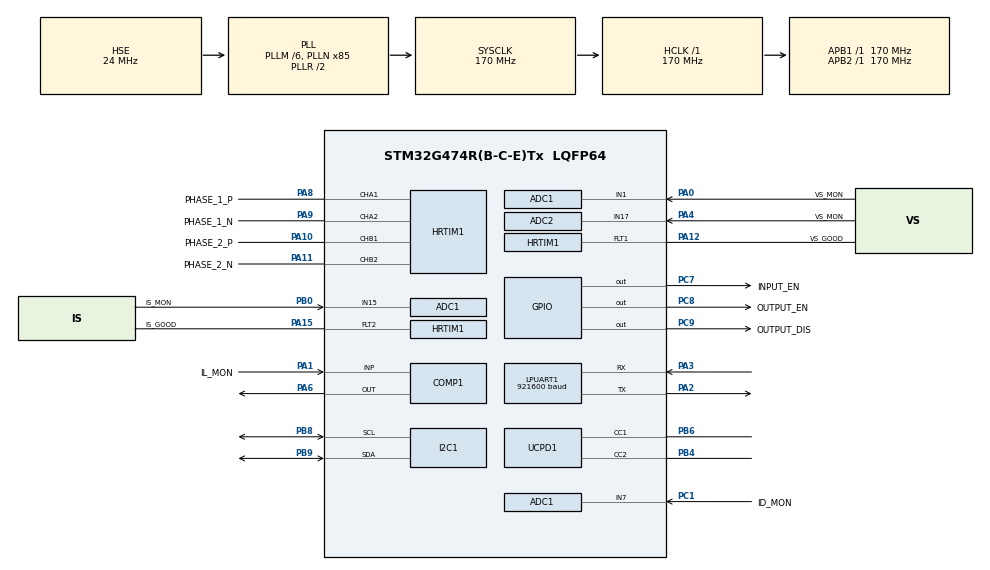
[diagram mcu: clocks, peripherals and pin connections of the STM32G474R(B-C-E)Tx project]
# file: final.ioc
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ADC1.Channel-2\#ChannelRegularConversion=ADC_CHANNEL_1
ADC1.Channel-3\#ChannelRegularConversion=ADC_CHANNEL_2
ADC1.Channel-4\#ChannelRegularConversion=ADC_CHANNEL_7
ADC1.Channel-5\#ChannelRegularConversion=ADC_CHANNEL_15
ADC1.ContinuousConvMode=ENABLE
ADC1.DMAContinuousRequests=ENABLE
ADC1.NbrOfConversion=4
ADC1.NbrOfConversionFlag=1
ADC1.OffsetNumber-2\#ChannelRegularConversion=ADC_OFFSET_NONE
ADC1.OffsetNumber-3\#ChannelRegularConversion=ADC_OFFSET_NONE
ADC1.OffsetNumber-4\#ChannelRegularConversion=ADC_OFFSET_NONE
ADC1.OffsetNumber-5\#ChannelRegularConversion=ADC_OFFSET_NONE
ADC1.Overrun=ADC_OVR_DATA_OVERWRITTEN
ADC1.Rank-2\#ChannelRegularConversion=1
ADC1.Rank-3\#ChannelRegularConversion=2
ADC1.Rank-4\#ChannelRegularConversion=3
ADC1.Rank-5\#ChannelRegularConversion=4
ADC1.SamplingTime-2\#ChannelRegularConversion=ADC_SAMPLETIME_2CYCLES_5
ADC1.SamplingTime-3\#ChannelRegularConversion=ADC_SAMPLETIME_2CYCLES_5
ADC1.SamplingTime-4\#ChannelRegularConversion=ADC_SAMPLETIME_2CYCLES_5
ADC1.SamplingTime-5\#ChannelRegularConversion=ADC_SAMPLETIME_2CYCLES_5
ADC1.master=1
ADC2.Channel-0\#ChannelRegularConversion=ADC_CHANNEL_17
ADC2.NbrOfConversionFlag=1
ADC2.OffsetNumber-0\#ChannelRegularConversion=ADC_OFFSET_NONE
ADC2.Rank-0\#ChannelRegularConversion=1
ADC2.SamplingTime-0\#ChannelRegularConversion=ADC_SAMPLETIME_2CYCLES_5
DAC3.DAC_Channel-DAC_OUT2_Int=DAC_CHANNEL_2
Dma.ADC1.3.Direction=DMA_PERIPH_TO_MEMORY
Dma.ADC1.3.EventEnable=DISABLE
Dma.ADC1.3.Instance=DMA1_Channel5
Dma.ADC1.3.MemDataAlignment=DMA_MDATAALIGN_HALFWORD
Dma.ADC1.3.MemInc=DMA_MINC_ENABLE
Dma.ADC1.3.Mode=DMA_CIRCULAR
Dma.ADC1.3.PeriphDataAlignment=DMA_PDATAALIGN_HALFWORD
Dma.ADC1.3.PeriphInc=DMA_PINC_DISABLE
Dma.ADC1.3.Polarity=HAL_DMAMUX_REQ_GEN_RISING
Dma.ADC1.3.Priority=DMA_PRIORITY_LOW
Dma.ADC1.3.RequestNumber=1
Dma.ADC1.3.SignalID=NONE
Dma.ADC1.3.SyncEnable=DISABLE
Dma.ADC1.3.SyncPolarity=HAL_DMAMUX_SYNC_NO_EVENT
Dma.ADC1.3.SyncRequestNumber=1
Dma.ADC1.3.SyncSignalID=NONE
Dma.ADC2.4.Direction=DMA_PERIPH_TO_MEMORY
Dma.ADC2.4.EventEnable=DISABLE
Dma.ADC2.4.Instance=DMA1_Channel6
Dma.ADC2.4.MemDataAlignment=DMA_MDATAALIGN_HALFWORD
Dma.ADC2.4.MemInc=DMA_MINC_ENABLE
Dma.ADC2.4.Mode=DMA_NORMAL
Dma.ADC2.4.PeriphDataAlignment=DMA_PDATAALIGN_HALFWORD
Dma.ADC2.4.PeriphInc=DMA_PINC_DISABLE
Dma.ADC2.4.Polarity=HAL_DMAMUX_REQ_GEN_RISING
Dma.ADC2.4.Priority=DMA_PRIORITY_LOW
Dma.ADC2.4.RequestNumber=1
Dma.ADC2.4.SignalID=NONE
Dma.ADC2.4.SyncEnable=DISABLE
Dma.ADC2.4.SyncPolarity=HAL_DMAMUX_SYNC_NO_EVENT
Dma.ADC2.4.SyncRequestNumber=1
Dma.ADC2.4.SyncSignalID=NONE
Dma.LPUART1_TX.2.Direction=DMA_MEMORY_TO_PERIPH
Dma.LPUART1_TX.2.EventEnable=DISABLE
Dma.LPUART1_TX.2.Instance=DMA1_Channel3
Dma.LPUART1_TX.2.MemDataAlignment=DMA_MDATAALIGN_BYTE
Dma.LPUART1_TX.2.MemInc=DMA_MINC_ENABLE
Dma.LPUART1_TX.2.Mode=DMA_NORMAL
Dma.LPUART1_TX.2.PeriphDataAlignment=DMA_PDATAALIGN_BYTE
Dma.LPUART1_TX.2.PeriphInc=DMA_PINC_DISABLE
Dma.LPUART1_TX.2.Polarity=HAL_DMAMUX_REQ_GEN_RISING
Dma.LPUART1_TX.2.Priority=DMA_PRIORITY_LOW
Dma.LPUART1_TX.2.RequestNumber=1
Dma.LPUART1_TX.2.SignalID=NONE
Dma.LPUART1_TX.2.SyncEnable=DISABLE
Dma.LPUART1_TX.2.SyncPolarity=HAL_DMAMUX_SYNC_NO_EVENT
Dma.LPUART1_TX.2.SyncRequestNumber=1
Dma.LPUART1_TX.2.SyncSignalID=NONE
Dma.Request0=UCPD1_TX
Dma.Request1=UCPD1_RX
Dma.Request2=LPUART1_TX
Dma.Request3=ADC1
Dma.Request4=ADC2
Dma.UCPD1_RX.1.Direction=DMA_PERIPH_TO_MEMORY
Dma.UCPD1_RX.1.EventEnable=DISABLE
Dma.UCPD1_RX.1.Instance=DMA1_Channel4
Dma.UCPD1_RX.1.MemDataAlignment=DMA_MDATAALIGN_BYTE
Dma.UCPD1_RX.1.MemInc=DMA_MINC_ENABLE
Dma.UCPD1_RX.1.Mode=DMA_NORMAL
Dma.UCPD1_RX.1.PeriphDataAlignment=DMA_PDATAALIGN_BYTE
Dma.UCPD1_RX.1.PeriphInc=DMA_PINC_DISABLE
Dma.UCPD1_RX.1.Polarity=HAL_DMAMUX_REQ_GEN_RISING
Dma.UCPD1_RX.1.Priority=DMA_PRIORITY_LOW
Dma.UCPD1_RX.1.RequestNumber=1
Dma.UCPD1_RX.1.SignalID=NONE
Dma.UCPD1_RX.1.SyncEnable=DISABLE
Dma.UCPD1_RX.1.SyncPolarity=HAL_DMAMUX_SYNC_NO_EVENT
Dma.UCPD1_RX.1.SyncRequestNumber=1
Dma.UCPD1_RX.1.SyncSignalID=NONE
Dma.UCPD1_TX.0.Direction=DMA_MEMORY_TO_PERIPH
Dma.UCPD1_TX.0.EventEnable=DISABLE
Dma.UCPD1_TX.0.Instance=DMA1_Channel2
Dma.UCPD1_TX.0.MemDataAlignment=DMA_MDATAALIGN_BYTE
Dma.UCPD1_TX.0.MemInc=DMA_MINC_ENABLE
Dma.UCPD1_TX.0.Mode=DMA_NORMAL
Dma.UCPD1_TX.0.PeriphDataAlignment=DMA_PDATAALIGN_BYTE
Dma.UCPD1_TX.0.PeriphInc=DMA_PINC_DISABLE
Dma.UCPD1_TX.0.Polarity=HAL_DMAMUX_REQ_GEN_RISING
Dma.UCPD1_TX.0.Priority=DMA_PRIORITY_LOW
Dma.UCPD1_TX.0.RequestNumber=1
Dma.UCPD1_TX.0.SignalID=NONE
Dma.UCPD1_TX.0.SyncEnable=DISABLE
Dma.UCPD1_TX.0.SyncPolarity=HAL_DMAMUX_SYNC_NO_EVENT
Dma.UCPD1_TX.0.SyncRequestNumber=1
Dma.UCPD1_TX.0.SyncSignalID=NONE
FREERTOS.Tasks01=defaultTask,0,512,StartDefaultTask,Default,NULL,Dynamic,NULL,NULL
FREERTOS.configLIBRARY_MAX_SYSCALL_INTERRUPT_PRIORITY=5
FREERTOS.configTOTAL_HEAP_SIZE=7000
FREERTOS.configUSE_NEWLIB_REENTRANT=1
GUI_INTERFACE.HWBoardVersionName=PD_Charger
GUI_INTERFACE.PDTypeName=BUCKBOOST_SRC
HRTIM1.ADCTrigger1_Source1=HRTIM_ADCTRIGGEREVENT13_MASTER_PERIOD
HRTIM1.ADCTrigger_Id1=HRTIM_ADCTRIGGER_1
HRTIM1.CompareUnit1-Output_TA1TA2=HRTIM_COMPAREUNIT_1
HRTIM1.CompareUnit1-Output_TB1TB2=HRTIM_COMPAREUNIT_1
HRTIM1.CompareUnit2-Output_TA1TA2=HRTIM_COMPAREUNIT_2
HRTIM1.CompareUnit2-Output_TB1TB2=HRTIM_COMPAREUNIT_2
HRTIM1.DeadTimeInsertion-Output_TA1TA2=HRTIM_TIMDEADTIMEINSERTION_ENABLED
HRTIM1.DeadTimeInsertion-Output_TB1TB2=HRTIM_TIMDEADTIMEINSERTION_ENABLED
HRTIM1.Event4-Output_TA1TA2=HRTIM_EVENT_4
HRTIM1.Event4-Output_TB1TB2=HRTIM_EVENT_4
HRTIM1.Event_EEV2=__NULL
HRTIM1.Event_EEV3=__NULL
HRTIM1.Event_EEV4=HRTIM_EVENT_4
HRTIM1.FallingValue-Output_TA1TA2=0x010
HRTIM1.FallingValue-Output_TB1TB2=0x010
HRTIM1.Filter4-Output_TA1TA2=HRTIM_TIMEEVFLT_BLANKINGCMP1
HRTIM1.Filter4-Output_TB1TB2=HRTIM_TIMEEVFLT_BLANKINGCMP1
HRTIM1.IdleLevel1-Output_TB1TB2=HRTIM_OUTPUTIDLELEVEL_INACTIVE
HRTIM1.IdleLevel2-Output_TB1TB2=HRTIM_OUTPUTIDLELEVEL_INACTIVE
HRTIM1.NumberADCTriggerSource1=1
HRTIM1.NumberResetSource1-Output_TA1TA2=2
HRTIM1.NumberResetSource1-Output_TB1TB2=1
HRTIM1.NumberSetSource1-Output_TA1TA2=1
HRTIM1.NumberSetSource1-Output_TB1TB2=2
HRTIM1.Polarity_FaultLine1=HRTIM_FAULTPOLARITY_LOW
HRTIM1.Polarity_FaultLine2=HRTIM_FAULTPOLARITY_LOW
HRTIM1.PrescalerRatio_MASTER=HRTIM_PRESCALERRATIO_MUL32
HRTIM1.PushPull-Output_TA1TA2=HRTIM_TIMPUSHPULLMODE_DISABLED
HRTIM1.ResetOutput1_Source1-Output_TA1TA2=HRTIM_OUTPUTSET_EEV_4
HRTIM1.ResetOutput1_Source1-Output_TB1TB2=HRTIM_OUTPUTRESET_TIMPER
HRTIM1.ResetOutput1_Source2-Output_TA1TA2=HRTIM_OUTPUTRESET_TIMCMP2
HRTIM1.RisingValue-Output_TA1TA2=0x010
HRTIM1.RisingValue-Output_TB1TB2=0x010
HRTIM1.SetOutput1_Source1-Output_TA1TA2=HRTIM_OUTPUTSET_TIMPER
HRTIM1.SetOutput1_Source1-Output_TB1TB2=HRTIM_OUTPUTSET_EEV_4
HRTIM1.SetOutput1_Source2-Output_TB1TB2=HRTIM_OUTPUTSET_TIMCMP2
HRTIM1.postscaler1=0x0F
I2C1.Timing=0x40B285C2
LPUART1.BaudRate=921600
LPUART1.WordLength=UART_WORDLENGTH_7B
Mcu.Family=STM32G4
Mcu.Name=STM32G474R(B-C-E)Tx
Mcu.Package=LQFP64
NVIC.DMA1_Channel2_IRQn=true\:5\:0\:false\:false\:true\:true\:false\:true\:true
NVIC.DMA1_Channel3_IRQn=true\:5\:0\:false\:false\:true\:false\:false\:true\:true
NVIC.DMA1_Channel4_IRQn=true\:5\:0\:true\:false\:true\:true\:false\:true\:true
NVIC.DMA1_Channel5_IRQn=true\:5\:0\:false\:false\:true\:false\:false\:true\:true
NVIC.DMA1_Channel6_IRQn=true\:5\:0\:false\:false\:true\:false\:false\:true\:true
NVIC.LPUART1_IRQn=true\:5\:0\:false\:false\:true\:true\:true\:true\:true
NVIC.PriorityGroup=NVIC_PRIORITYGROUP_4
NVIC.TIM2_IRQn=true\:15\:0\:false\:false\:true\:false\:false\:true\:true
NVIC.TimeBase=TIM2_IRQn
NVIC.TimeBaseIP=TIM2
NVIC.UCPD1_IRQn=true\:5\:0\:false\:false\:true\:true\:true\:false\:true
PA0.GPIO_Label=VS_MON
PA0.Mode=IN1-Single-Ended
PA0.Signal=ADC1_IN1
PA1.GPIO_Label=IL_MON
PA1.Signal=SharedAnalog_PA1
PA10.GPIO_Label=PHASE_2_P
PA10.Mode=Output_TB1TB2
PA10.Signal=HRTIM1_CHB1
PA11.GPIO_Label=PHASE_2_N
PA11.Mode=Output_TB1TB2
PA11.Signal=HRTIM1_CHB2
PA12.GPIO_Label=VS_GOOD
PA12.GPIO_PuPd=GPIO_PULLUP
PA12.Mode=Fault_Enable1
PA12.Signal=HRTIM1_FLT1
PA13.GPIO_Label=T_SWDIO
PA13.Mode=Serial_Wire
PA13.Signal=SYS_JTMS-SWDIO
PA14.GPIO_Label=T_SWCLK
PA14.Mode=Serial_Wire
PA14.Signal=SYS_JTCK-SWCLK
PA15.GPIO_Label=IS_GOOD
PA15.GPIO_PuPd=GPIO_PULLUP
PA15.Mode=Fault_Enable2
PA15.Signal=HRTIM1_FLT2
PA2.Mode=Asynchronous
PA2.Signal=LPUART1_TX
PA3.Mode=Asynchronous
PA3.Signal=LPUART1_RX
PA4.GPIO_Label=VS_MON
PA4.Mode=IN17-Single-Ended
PA4.Signal=ADC2_IN17
PA6.Mode=ExternalOutput
PA6.Signal=COMP1_OUT
PA8.GPIO_Label=PHASE_1_P
PA8.Mode=Output_TA1TA2
PA8.Signal=HRTIM1_CHA1
PA9.GPIO_Label=PHASE_1_N
PA9.Mode=Output_TA1TA2
PA9.Signal=HRTIM1_CHA2
PB0.GPIO_Label=IS_MON
PB0.Mode=IN15-Single-Ended
PB0.Signal=ADC1_IN15
PB3.GPIO_Label=T_SWO
PB3.Signal=SYS_JTDO-SWO
PB4.Mode=Source_AllSignals
PB4.Signal=UCPD1_CC2
PB6.Mode=Source_AllSignals
PB6.Signal=UCPD1_CC1
PB8-BOOT0.Mode=I2C
PB8-BOOT0.Signal=I2C1_SCL
PB9.Mode=I2C
PB9.Signal=I2C1_SDA
PC1.GPIO_Label=ID_MON
PC1.Mode=IN7-Single-Ended
PC1.Signal=ADC1_IN7
PC14-OSC32_IN.GPIO_Label=RCC_OSC32_IN
PC14-OSC32_IN.Mode=LSE-External-Oscillator
PC14-OSC32_IN.Signal=RCC_OSC32_IN
PC15-OSC32_OUT.GPIO_Label=RCC_OSC32_OUT
PC15-OSC32_OUT.Mode=LSE-External-Oscillator
PC15-OSC32_OUT.Signal=RCC_OSC32_OUT
PC7.GPIO_Label=INPUT_EN
PC7.Signal=GPIO_Output
PC8.GPIO_Label=OUTPUT_EN
PC8.Signal=GPIO_Output
PC9.GPIO_Label=OUTPUT_DIS
PC9.Signal=GPIO_Output
PF0-OSC_IN.GPIO_Label=RCC_OSC_IN
PF0-OSC_IN.Mode=HSE-External-Oscillator
PF0-OSC_IN.Signal=RCC_OSC_IN
PF1-OSC_OUT.GPIO_Label=RCC_OSC_OUT
PF1-OSC_OUT.Mode=HSE-External-Oscillator
PF1-OSC_OUT.Signal=RCC_OSC_OUT
ProjectManager.HeapSize=0xC00
ProjectManager.StackSize=0x400
ProjectManager.TargetToolchain=CMake
RCC.ADC12Freq_Value=170000000
RCC.ADC345Freq_Value=170000000
RCC.AHBFreq_Value=170000000
RCC.APB1Freq_Value=170000000
RCC.APB1TimFreq_Value=170000000
RCC.APB2Freq_Value=170000000
RCC.APB2TimFreq_Value=170000000
RCC.CortexFreq_Value=170000000
RCC.EXTERNAL_CLOCK_VALUE=12288000
RCC.HCLKFreq_Value=170000000
RCC.HSE_VALUE=24000000
RCC.HSI48_VALUE=48000000
RCC.HSI_VALUE=16000000
RCC.PLLM=RCC_PLLM_DIV6
RCC.PLLN=85
RCC.PLLSourceVirtual=RCC_PLLSOURCE_HSE
RCC.RTCClockSelection=RCC_RTCCLKSOURCE_LSE
RCC.SYSCLKFreq_VALUE=170000000
RCC.SYSCLKSource=RCC_SYSCLKSOURCE_PLLCLK
RCC.USBFreq_Value=170000000
RCC.VCOOutputFreq_Value=340000000
SH.SharedAnalog_PA1.0=COMP1_INP,INP
SH.SharedAnalog_PA1.1=ADC1_IN2,IN2-Single-Ended
STMicroelectronics.X-CUBE-TCPP.4.2.0.USBPDOoApplicationCcDeviceJjApplication=Source
STMicroelectronics.X-CUBE-TCPP.4.2.0.XAaNUCLEOAaSRC1M1CcBoardOoSupportJjXAaNUCLEOAaSRC1M1JjCommon=true
STMicroelectronics.X-CUBE-TCPP.4.2.0.tcpp0203CcBoardOoPartJjtcpp0203Jjtcpp0203=true
USBPD.Is_SrcCapaExt_Supported_P0=USBPD_TRUE
USBPD.USBPD_PDO_FIXED_HIGHERCAPAB_P0=USBPD_PDO_SNK_FIXED_HIGHERCAPAB_SUPPORTED
USBPD.USBPD_PORT0_PDO_SRC_FIXED_SET_MAX_CURRENT_0=100
USBPD.USBPD_PORT0_PDO_SRC_FIXED_SET_MAX_CURRENT_1=1500
USBPD.USBPD_PORT0_PDO_SRC_NB=2
VP_COMP1_VS_DAC3OUT1.Mode=INM_DAC3OUT1
VP_DAC3_VS_DACI1.Mode=DAC_OUT1_Int
VP_DAC3_VS_DACI2.Mode=DAC_OUT2_Int
VP_FREERTOS_VS_CMSIS_V1.Mode=CMSIS_V1
VP_GUI_INTERFACE_VS_gui_interface.Mode=GUI_INTERFACE
VP_HRTIM1_VS_hrtimMasterTimerNoOutput.Mode=MasterTimer
VP_STMicroelectronics.X-CUBE-TCPP_VS_BoardOoPartJjtcpp0203_1.2.3_4.2.0.Mode=BoardOoPartJjtcpp0203
VP_STMicroelectronics.X-CUBE-TCPP_VS_BoardOoSupportJjXAaNUCLEOAaSRC1M1_1.2.1_4.2.0.Mode=BoardOoSupportJjXAaNUCLEOAaSRC1M1
VP_STMicroelectronics.X-CUBE-TCPP_VS_DeviceJjUSBPDOoApplication_4.2.0_4.2.0.Mode=DeviceJjUSBPDOoApplication
VP_SYS_VS_DBSignals.Mode=DisableDeadBatterySignals
VP_SYS_VS_tim2.Mode=TIM2
VP_TIM6_VS_ClockSourceINT.Mode=Enable_Timer
VP_TIM7_VS_ClockSourceINT.Mode=Enable_Timer
VP_TRACER_EMB_VS_traceremb_lpuart1.Mode=TRACER_EMB_LPUART1
VP_USBPD_VS_PD3FULL.Mode=PD3_Full_Stack
VP_USBPD_VS_USBPD1.Mode=USBPD_P0
VP_USBPD_VS_usbpd_tim1.Mode=TIM1
VP_USBPD_VS_usbpd_traceremb.Mode=TRACER_EMB
board=NUCLEO-G474RE

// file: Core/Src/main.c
/* USER CODE BEGIN Header */
/**
  ******************************************************************************
  * @file           : main.c
  * @brief          : Main program body
  ******************************************************************************
  * @attention
  *
  * Copyright (c) 2026 STMicroelectronics.
  * All rights reserved.
  *
  * This software is licensed under terms that can be found in the LICENSE file
  * in the root directory of this software component.
  * If no LICENSE file comes with this software, it is provided AS-IS.
  *
  ******************************************************************************
  */
/* USER CODE END Header */
#include "main.h"
#include "cmsis_os.h"
#include "app_tcpp.h"
#include "usbpd.h"

/* USER CODE BEGIN Includes */
#include "regulator.h"
#include "pd_interface.h"
#include "pd_vbus.h"
#include "usbpd_dpm_core.h"
#include "adc_monitor.h"
#include "debug_log.h"
/* USER CODE END Includes */

/* USER CODE BEGIN PD */

/** Default task test voltage (millivolts).
 *  The default task bypasses PD negotiation and regulates to this voltage
 *  directly, enabling standalone regulation testing. */
#define DEFAULT_TASK_TEST_VOLTAGE_MV  28000u  /* 2026-09-28 boost: 24 V in; output switch on from the evening run (330 ohm load, OUTPUT_SWITCH_ENABLED 1). Buck runs 1 to 29 used 5000u. */

/* USER CODE END PD */

ADC_HandleTypeDef hadc1;
ADC_HandleTypeDef hadc2;
DMA_HandleTypeDef hdma_adc1;
DMA_HandleTypeDef hdma_adc2;

COMP_HandleTypeDef hcomp1;

DAC_HandleTypeDef hdac3;

HRTIM_HandleTypeDef hhrtim1;

I2C_HandleTypeDef hi2c1;

UART_HandleTypeDef hlpuart1;
DMA_HandleTypeDef hdma_lpuart1_tx;

TIM_HandleTypeDef htim6;
TIM_HandleTypeDef htim7;

osThreadId defaultTaskHandle;

void SystemClock_Config(void);
static void MX_GPIO_Init(void);
static void MX_DMA_Init(void);
static void MX_HRTIM1_Init(void);
static void MX_UCPD1_Init(void);
static void MX_LPUART1_UART_Init(void);
static void MX_COMP1_Init(void);
static void MX_DAC3_Init(void);
static void MX_ADC2_Init(void);
static void MX_ADC1_Init(void);
static void MX_I2C1_Init(void);
static void MX_TIM6_Init(void);
static void MX_TIM7_Init(void);
void StartDefaultTask(void const * argument);

int main(void)
{

  /* MCU Configuration--------------------------------------------------------*/

  /* Reset of all peripherals, Initializes the Flash interface and the Systick. */
  HAL_Init();

  /* Configure the system clock */
  SystemClock_Config();

  /* Initialize all configured peripherals */
  MX_GPIO_Init();
  MX_DMA_Init();
  MX_HRTIM1_Init();
  MX_UCPD1_Init();
  MX_LPUART1_UART_Init();
  MX_COMP1_Init();
  MX_DAC3_Init();
  MX_ADC2_Init();
  MX_ADC1_Init();
  MX_I2C1_Init();
  MX_TIM6_Init();
  MX_TIM7_Init();
  MX_TCPP_Init();
  /* USER CODE BEGIN 2 */
  /* Initialise the buck-boost regulator after all peripheral MX inits.
   * regulator_init() performs HRTIM post-configuration, PID init, ADC
   * calibration, slope compensation setup, and transitions to IDLE state.
   * Must run before osKernelStart() so interrupts are armed before RTOS. */
  regulator_init();

  /* Clear the debug capture buffer so the first samples collected after
   * osKernelStart() are clean (no zero-filled ghost entries). */
  debug_log_clear();
  /* USER CODE END 2 */

  /* USBPD initialisation ---------------------------------*/
  MX_USBPD_Init();

  /* Create the thread(s) */
  /* definition and creation of defaultTask */
  osThreadDef(defaultTask, StartDefaultTask, osPriorityNormal, 0, 512);
  defaultTaskHandle = osThreadCreate(osThread(defaultTask), NULL);

  /* Start scheduler */
  osKernelStart();

  /* We should never get here as control is now taken by the scheduler */

  /* Infinite loop */
  while (1)
  {

  }
}

void SystemClock_Config(void)
{
  RCC_OscInitTypeDef RCC_OscInitStruct = {0};
  RCC_ClkInitTypeDef RCC_ClkInitStruct = {0};

  /** Configure the main internal regulator output voltage
  */
  HAL_PWREx_ControlVoltageScaling(PWR_REGULATOR_VOLTAGE_SCALE1_BOOST);

  /** Initializes the RCC Oscillators according to the specified parameters
  * in the RCC_OscInitTypeDef structure.
  */
  RCC_OscInitStruct.OscillatorType = RCC_OSCILLATORTYPE_HSI|RCC_OSCILLATORTYPE_HSE;
  RCC_OscInitStruct.HSEState = RCC_HSE_ON;
  RCC_OscInitStruct.HSIState = RCC_HSI_ON;
  RCC_OscInitStruct.HSICalibrationValue = RCC_HSICALIBRATION_DEFAULT;
  RCC_OscInitStruct.PLL.PLLState = RCC_PLL_ON;
  RCC_OscInitStruct.PLL.PLLSource = RCC_PLLSOURCE_HSE;
  RCC_OscInitStruct.PLL.PLLM = RCC_PLLM_DIV6;
  RCC_OscInitStruct.PLL.PLLN = 85;
  RCC_OscInitStruct.PLL.PLLP = RCC_PLLP_DIV2;
  RCC_OscInitStruct.PLL.PLLQ = RCC_PLLQ_DIV2;
  RCC_OscInitStruct.PLL.PLLR = RCC_PLLR_DIV2;
  if (HAL_RCC_OscConfig(&RCC_OscInitStruct) != HAL_OK)
  {
    Error_Handler();
  }

  /** Initializes the CPU, AHB and APB buses clocks
  */
  RCC_ClkInitStruct.ClockType = RCC_CLOCKTYPE_HCLK|RCC_CLOCKTYPE_SYSCLK
                              |RCC_CLOCKTYPE_PCLK1|RCC_CLOCKTYPE_PCLK2;
  RCC_ClkInitStruct.SYSCLKSource = RCC_SYSCLKSOURCE_PLLCLK;
  RCC_ClkInitStruct.AHBCLKDivider = RCC_SYSCLK_DIV1;
  RCC_ClkInitStruct.APB1CLKDivider = RCC_HCLK_DIV1;
  RCC_ClkInitStruct.APB2CLKDivider = RCC_HCLK_DIV1;

  if (HAL_RCC_ClockConfig(&RCC_ClkInitStruct, FLASH_LATENCY_4) != HAL_OK)
  {
    Error_Handler();
  }
}

static void MX_ADC1_Init(void)
{

  ADC_MultiModeTypeDef multimode = {0};
  ADC_ChannelConfTypeDef sConfig = {0};

  /** Common config
  */
  hadc1.Instance = ADC1;
  hadc1.Init.ClockPrescaler = ADC_CLOCK_SYNC_PCLK_DIV4;
  hadc1.Init.Resolution = ADC_RESOLUTION_12B;
  hadc1.Init.DataAlign = ADC_DATAALIGN_RIGHT;
  hadc1.Init.GainCompensation = 0;
  hadc1.Init.ScanConvMode = ADC_SCAN_DISABLE;
  hadc1.Init.EOCSelection = ADC_EOC_SINGLE_CONV;
  hadc1.Init.LowPowerAutoWait = DISABLE;
  hadc1.Init.ContinuousConvMode = DISABLE;
  hadc1.Init.NbrOfConversion = 1;
  hadc1.Init.DiscontinuousConvMode = DISABLE;
  hadc1.Init.ExternalTrigConv = ADC_EXTERNALTRIG_HRTIM_TRG1;
  hadc1.Init.ExternalTrigConvEdge = ADC_EXTERNALTRIGCONVEDGE_RISING;
  hadc1.Init.DMAContinuousRequests = ENABLE;
  hadc1.Init.Overrun = ADC_OVR_DATA_OVERWRITTEN;
  hadc1.Init.OversamplingMode = ENABLE;
  hadc1.Init.Oversampling.Ratio = ADC_OVERSAMPLING_RATIO_8;
  hadc1.Init.Oversampling.RightBitShift = ADC_RIGHTBITSHIFT_NONE;
  hadc1.Init.Oversampling.TriggeredMode = ADC_TRIGGEREDMODE_SINGLE_TRIGGER;
  hadc1.Init.Oversampling.OversamplingStopReset = ADC_REGOVERSAMPLING_CONTINUED_MODE;
  if (HAL_ADC_Init(&hadc1) != HAL_OK)
  {
    Error_Handler();
  }

  /** Configure the ADC multi-mode
  */
  multimode.Mode = ADC_MODE_INDEPENDENT;
  if (HAL_ADCEx_MultiModeConfigChannel(&hadc1, &multimode) != HAL_OK)
  {
    Error_Handler();
  }

  /** Configure Regular Channel
  */
  sConfig.Channel = ADC_CHANNEL_1;
  sConfig.Rank = ADC_REGULAR_RANK_1;
  sConfig.SamplingTime = ADC_SAMPLETIME_6CYCLES_5;
  sConfig.SingleDiff = ADC_SINGLE_ENDED;
  sConfig.OffsetNumber = ADC_OFFSET_NONE;
  sConfig.Offset = 0;
  if (HAL_ADC_ConfigChannel(&hadc1, &sConfig) != HAL_OK)
  {
    Error_Handler();
  }

  /** Configure Regular Channel
  */
  sConfig.Channel = ADC_CHANNEL_2;
  sConfig.Rank = ADC_REGULAR_RANK_2;
  sConfig.SamplingTime = ADC_SAMPLETIME_12CYCLES_5;
  if (HAL_ADC_ConfigChannel(&hadc1, &sConfig) != HAL_OK)
  {
    Error_Handler();
  }

  /** Configure Regular Channel
  */
  sConfig.Channel = ADC_CHANNEL_7;
  sConfig.Rank = ADC_REGULAR_RANK_3;
  if (HAL_ADC_ConfigChannel(&hadc1, &sConfig) != HAL_OK)
  {
    Error_Handler();
  }

  /** Configure Regular Channel
  */
  sConfig.Channel = ADC_CHANNEL_15;
  sConfig.Rank = ADC_REGULAR_RANK_4;
  if (HAL_ADC_ConfigChannel(&hadc1, &sConfig) != HAL_OK)
  {
    Error_Handler();
  }

}

static void MX_ADC2_Init(void)
{

  ADC_ChannelConfTypeDef sConfig = {0};

  /** Common config
  */
  hadc2.Instance = ADC2;
  hadc2.Init.ClockPrescaler = ADC_CLOCK_SYNC_PCLK_DIV4;
  hadc2.Init.Resolution = ADC_RESOLUTION_12B;
  hadc2.Init.DataAlign = ADC_DATAALIGN_RIGHT;
  hadc2.Init.GainCompensation = 0;
  hadc2.Init.ScanConvMode = ADC_SCAN_DISABLE;
  hadc2.Init.EOCSelection = ADC_EOC_SINGLE_CONV;
  hadc2.Init.LowPowerAutoWait = DISABLE;
  hadc2.Init.ContinuousConvMode = DISABLE;
  hadc2.Init.NbrOfConversion = 1;
  hadc2.Init.DiscontinuousConvMode = DISABLE;
  hadc2.Init.ExternalTrigConv = ADC_SOFTWARE_START;
  hadc2.Init.ExternalTrigConvEdge = ADC_EXTERNALTRIGCONVEDGE_NONE;
  hadc2.Init.DMAContinuousRequests = DISABLE;
  hadc2.Init.Overrun = ADC_OVR_DATA_PRESERVED;
  hadc2.Init.OversamplingMode = DISABLE;
  if (HAL_ADC_Init(&hadc2) != HAL_OK)
  {
    Error_Handler();
  }

  /** Configure Regular Channel
  */
  sConfig.Channel = ADC_CHANNEL_17;
  sConfig.Rank = ADC_REGULAR_RANK_1;
  sConfig.SamplingTime = ADC_SAMPLETIME_2CYCLES_5;
  sConfig.SingleDiff = ADC_SINGLE_ENDED;
  sConfig.OffsetNumber = ADC_OFFSET_NONE;
  sConfig.Offset = 0;
  if (HAL_ADC_ConfigChannel(&hadc2, &sConfig) != HAL_OK)
  {
    Error_Handler();
  }

}

static void MX_COMP1_Init(void)
{

  hcomp1.Instance = COMP1;
  hcomp1.Init.InputPlus = COMP_INPUT_PLUS_IO1;
  hcomp1.Init.InputMinus = COMP_INPUT_MINUS_DAC3_CH1;
  hcomp1.Init.OutputPol = COMP_OUTPUTPOL_NONINVERTED;
  hcomp1.Init.Hysteresis = COMP_HYSTERESIS_NONE;
  hcomp1.Init.BlankingSrce = COMP_BLANKINGSRC_NONE;
  hcomp1.Init.TriggerMode = COMP_TRIGGERMODE_NONE;
  if (HAL_COMP_Init(&hcomp1) != HAL_OK)
  {
    Error_Handler();
  }

}

static void MX_DAC3_Init(void)
{

  DAC_ChannelConfTypeDef sConfig = {0};

  /** DAC Initialization
  */
  hdac3.Instance = DAC3;
  if (HAL_DAC_Init(&hdac3) != HAL_OK)
  {
    Error_Handler();
  }

  /** DAC channel OUT1 config
  */
  sConfig.DAC_HighFrequency = DAC_HIGH_FREQUENCY_INTERFACE_MODE_AUTOMATIC;
  sConfig.DAC_DMADoubleDataMode = DISABLE;
  sConfig.DAC_SignedFormat = DISABLE;
  sConfig.DAC_SampleAndHold = DAC_SAMPLEANDHOLD_DISABLE;
  sConfig.DAC_Trigger = DAC_TRIGGER_NONE;
  sConfig.DAC_Trigger2 = DAC_TRIGGER_NONE;
  sConfig.DAC_OutputBuffer = DAC_OUTPUTBUFFER_DISABLE;
  sConfig.DAC_ConnectOnChipPeripheral = DAC_CHIPCONNECT_INTERNAL;
  sConfig.DAC_UserTrimming = DAC_TRIMMING_FACTORY;
  if (HAL_DAC_ConfigChannel(&hdac3, &sConfig, DAC_CHANNEL_1) != HAL_OK)
  {
    Error_Handler();
  }

  /** DAC channel OUT2 config
  */
  if (HAL_DAC_ConfigChannel(&hdac3, &sConfig, DAC_CHANNEL_2) != HAL_OK)
  {
    Error_Handler();
  }

}

static void MX_HRTIM1_Init(void)
{

  HRTIM_EventCfgTypeDef pEventCfg = {0};
  HRTIM_FaultCfgTypeDef pFaultCfg = {0};
  HRTIM_FaultBlankingCfgTypeDef pFaultBlkCfg = {0};
  HRTIM_ADCTriggerCfgTypeDef pADCTriggerCfg = {0};
  HRTIM_TimeBaseCfgTypeDef pTimeBaseCfg = {0};
  HRTIM_TimerCfgTypeDef pTimerCfg = {0};
  HRTIM_TimerCtlTypeDef pTimerCtl = {0};
  HRTIM_CompareCfgTypeDef pCompareCfg = {0};
  HRTIM_TimerEventFilteringCfgTypeDef pTimerEventFilteringCfg = {0};
  HRTIM_DeadTimeCfgTypeDef pDeadTimeCfg = {0};
  HRTIM_OutputCfgTypeDef pOutputCfg = {0};

  hhrtim1.Instance = HRTIM1;
  hhrtim1.Init.HRTIMInterruptResquests = HRTIM_IT_NONE;
  hhrtim1.Init.SyncOptions = HRTIM_SYNCOPTION_NONE;
  if (HAL_HRTIM_Init(&hhrtim1) != HAL_OK)
  {
    Error_Handler();
  }
  if (HAL_HRTIM_DLLCalibrationStart(&hhrtim1, HRTIM_CALIBRATIONRATE_3) != HAL_OK)
  {
    Error_Handler();
  }
  if (HAL_HRTIM_PollForDLLCalibration(&hhrtim1, 10) != HAL_OK)
  {
    Error_Handler();
  }
  if (HAL_HRTIM_EventPrescalerConfig(&hhrtim1, HRTIM_EVENTPRESCALER_DIV1) != HAL_OK)
  {
    Error_Handler();
  }
  pEventCfg.Source = HRTIM_EEV4SRC_COMP1_OUT;
  pEventCfg.Polarity = HRTIM_EVENTPOLARITY_HIGH;
  pEventCfg.Sensitivity = HRTIM_EVENTSENSITIVITY_LEVEL;
  pEventCfg.FastMode = HRTIM_EVENTFASTMODE_DISABLE;
  if (HAL_HRTIM_EventConfig(&hhrtim1, HRTIM_EVENT_4, &pEventCfg) != HAL_OK)
  {
    Error_Handler();
  }
  if (HAL_HRTIM_FaultPrescalerConfig(&hhrtim1, HRTIM_FAULTPRESCALER_DIV1) != HAL_OK)
  {
    Error_Handler();
  }
  pFaultCfg.Source = HRTIM_FAULTSOURCE_DIGITALINPUT;
  pFaultCfg.Polarity = HRTIM_FAULTPOLARITY_LOW;
  pFaultCfg.Filter = HRTIM_FAULTFILTER_NONE;
  pFaultCfg.Lock = HRTIM_FAULTLOCK_READWRITE;
  if (HAL_HRTIM_FaultConfig(&hhrtim1, HRTIM_FAULT_1, &pFaultCfg) != HAL_OK)
  {
    Error_Handler();
  }
  pFaultBlkCfg.Threshold = 0;
  pFaultBlkCfg.ResetMode = HRTIM_FAULTCOUNTERRST_UNCONDITIONAL;
  pFaultBlkCfg.BlankingSource = HRTIM_FAULTBLANKINGMODE_RSTALIGNED;
  if (HAL_HRTIM_FaultCounterConfig(&hhrtim1, HRTIM_FAULT_1, &pFaultBlkCfg) != HAL_OK)
  {
    Error_Handler();
  }
  if (HAL_HRTIM_FaultBlankingConfigAndEnable(&hhrtim1, HRTIM_FAULT_1, &pFaultBlkCfg) != HAL_OK)
  {
    Error_Handler();
  }
  HAL_HRTIM_FaultModeCtl(&hhrtim1, HRTIM_FAULT_1, HRTIM_FAULTMODECTL_ENABLED);
  if (HAL_HRTIM_FaultCounterConfig(&hhrtim1, HRTIM_FAULT_2, &pFaultBlkCfg) != HAL_OK)
  {
    Error_Handler();
  }
  if (HAL_HRTIM_FaultBlankingConfigAndEnable(&hhrtim1, HRTIM_FAULT_2, &pFaultBlkCfg) != HAL_OK)
  {
    Error_Handler();
  }
  if (HAL_HRTIM_FaultConfig(&hhrtim1, HRTIM_FAULT_2, &pFaultCfg) != HAL_OK)
  {
    Error_Handler();
  }
  HAL_HRTIM_FaultModeCtl(&hhrtim1, HRTIM_FAULT_2, HRTIM_FAULTMODECTL_ENABLED);
  pADCTriggerCfg.UpdateSource = HRTIM_ADCTRIGGERUPDATE_MASTER;
  pADCTriggerCfg.Trigger = HRTIM_ADCTRIGGEREVENT13_MASTER_PERIOD;
  if (HAL_HRTIM_ADCTriggerConfig(&hhrtim1, HRTIM_ADCTRIGGER_1, &pADCTriggerCfg) != HAL_OK)
  {
    Error_Handler();
  }
  if (HAL_HRTIM_ADCPostScalerConfig(&hhrtim1, HRTIM_ADCTRIGGER_1, 0x00) != HAL_OK)
  {
    Error_Handler();
  }
  pTimeBaseCfg.Period = 0xFFDF;
  pTimeBaseCfg.RepetitionCounter = 0x00;
  pTimeBaseCfg.PrescalerRatio = HRTIM_PRESCALERRATIO_MUL32;
  pTimeBaseCfg.Mode = HRTIM_MODE_CONTINUOUS;
  if (HAL_HRTIM_TimeBaseConfig(&hhrtim1, HRTIM_TIMERINDEX_MASTER, &pTimeBaseCfg) != HAL_OK)
  {
    Error_Handler();
  }
  pTimerCfg.InterruptRequests = HRTIM_MASTER_IT_NONE;
  pTimerCfg.DMARequests = HRTIM_MASTER_DMA_NONE;
  pTimerCfg.DMASrcAddress = 0x0000;
  pTimerCfg.DMADstAddress = 0x0000;
  pTimerCfg.DMASize = 0x1;
  pTimerCfg.HalfModeEnable = HRTIM_HALFMODE_DISABLED;
  pTimerCfg.InterleavedMode = HRTIM_INTERLEAVED_MODE_DISABLED;
  pTimerCfg.StartOnSync = HRTIM_SYNCSTART_DISABLED;
  pTimerCfg.ResetOnSync = HRTIM_SYNCRESET_DISABLED;
  pTimerCfg.DACSynchro = HRTIM_DACSYNC_NONE;
  pTimerCfg.PreloadEnable = HRTIM_PRELOAD_DISABLED;
  pTimerCfg.UpdateGating = HRTIM_UPDATEGATING_INDEPENDENT;
  pTimerCfg.BurstMode = HRTIM_TIMERBURSTMODE_MAINTAINCLOCK;
  pTimerCfg.RepetitionUpdate = HRTIM_UPDATEONREPETITION_DISABLED;
  pTimerCfg.ReSyncUpdate = HRTIM_TIMERESYNC_UPDATE_UNCONDITIONAL;
  if (HAL_HRTIM_WaveformTimerConfig(&hhrtim1, HRTIM_TIMERINDEX_MASTER, &pTimerCfg) != HAL_OK)
  {
    Error_Handler();
  }
  if (HAL_HRTIM_TimeBaseConfig(&hhrtim1, HRTIM_TIMERINDEX_TIMER_A, &pTimeBaseCfg) != HAL_OK)
  {
    Error_Handler();
  }
  pTimerCtl.UpDownMode = HRTIM_TIMERUPDOWNMODE_UP;
  pTimerCtl.TrigHalf = HRTIM_TIMERTRIGHALF_DISABLED;
  pTimerCtl.GreaterCMP1 = HRTIM_TIMERGTCMP1_EQUAL;
  pTimerCtl.DualChannelDacEnable = HRTIM_TIMER_DCDE_DISABLED;
  if (HAL_HRTIM_WaveformTimerControl(&hhrtim1, HRTIM_TIMERINDEX_TIMER_A, &pTimerCtl) != HAL_OK)
  {
    Error_Handler();
  }
  pTimerCfg.InterruptRequests = HRTIM_TIM_IT_NONE;
  pTimerCfg.DMARequests = HRTIM_TIM_DMA_NONE;
  pTimerCfg.PushPull = HRTIM_TIMPUSHPULLMODE_DISABLED;
  pTimerCfg.FaultEnable = HRTIM_TIMFAULTENABLE_NONE;
  pTimerCfg.FaultLock = HRTIM_TIMFAULTLOCK_READWRITE;
  pTimerCfg.DeadTimeInsertion = HRTIM_TIMDEADTIMEINSERTION_ENABLED;
  pTimerCfg.DelayedProtectionMode = HRTIM_TIMER_A_B_C_DELAYEDPROTECTION_DISABLED;
  pTimerCfg.UpdateTrigger = HRTIM_TIMUPDATETRIGGER_NONE;
  pTimerCfg.ResetTrigger = HRTIM_TIMRESETTRIGGER_NONE;
  pTimerCfg.ResetUpdate = HRTIM_TIMUPDATEONRESET_DISABLED;
  if (HAL_HRTIM_WaveformTimerConfig(&hhrtim1, HRTIM_TIMERINDEX_TIMER_A, &pTimerCfg) != HAL_OK)
  {
    Error_Handler();
  }
  if (HAL_HRTIM_WaveformTimerConfig(&hhrtim1, HRTIM_TIMERINDEX_TIMER_B, &pTimerCfg) != HAL_OK)
  {
    Error_Handler();
  }
  pCompareCfg.CompareValue = 0xFFDF;
  if (HAL_HRTIM_WaveformCompareConfig(&hhrtim1, HRTIM_TIMERINDEX_TIMER_A, HRTIM_COMPAREUNIT_1, &pCompareCfg) != HAL_OK)
  {
    Error_Handler();
  }
  pCompareCfg.AutoDelayedMode = HRTIM_AUTODELAYEDMODE_REGULAR;
  pCompareCfg.AutoDelayedTimeout = 0x0000;

  if (HAL_HRTIM_WaveformCompareConfig(&hhrtim1, HRTIM_TIMERINDEX_TIMER_A, HRTIM_COMPAREUNIT_2, &pCompareCfg) != HAL_OK)
  {
    Error_Handler();
  }
  pTimerEventFilteringCfg.Filter = HRTIM_TIMEEVFLT_BLANKINGCMP1;
  pTimerEventFilteringCfg.Latch = HRTIM_TIMEVENTLATCH_DISABLED;
  if (HAL_HRTIM_TimerEventFilteringConfig(&hhrtim1, HRTIM_TIMERINDEX_TIMER_A, HRTIM_EVENT_4, &pTimerEventFilteringCfg) != HAL_OK)
  {
    Error_Handler();
  }
  if (HAL_HRTIM_TimerEventFilteringConfig(&hhrtim1, HRTIM_TIMERINDEX_TIMER_B, HRTIM_EVENT_4, &pTimerEventFilteringCfg) != HAL_OK)
  {
    Error_Handler();
  }
  pDeadTimeCfg.Prescaler = HRTIM_TIMDEADTIME_PRESCALERRATIO_MUL8;
  pDeadTimeCfg.RisingValue = 0x010;
  pDeadTimeCfg.RisingSign = HRTIM_TIMDEADTIME_RISINGSIGN_POSITIVE;
  pDeadTimeCfg.RisingLock = HRTIM_TIMDEADTIME_RISINGLOCK_WRITE;
  pDeadTimeCfg.RisingSignLock = HRTIM_TIMDEADTIME_RISINGSIGNLOCK_WRITE;
  pDeadTimeCfg.FallingValue = 0x010;
  pDeadTimeCfg.FallingSign = HRTIM_TIMDEADTIME_FALLINGSIGN_POSITIVE;
  pDeadTimeCfg.FallingLock = HRTIM_TIMDEADTIME_FALLINGLOCK_WRITE;
  pDeadTimeCfg.FallingSignLock = HRTIM_TIMDEADTIME_FALLINGSIGNLOCK_WRITE;
  if (HAL_HRTIM_DeadTimeConfig(&hhrtim1, HRTIM_TIMERINDEX_TIMER_A, &pDeadTimeCfg) != HAL_OK)
  {
    Error_Handler();
  }
  if (HAL_HRTIM_DeadTimeConfig(&hhrtim1, HRTIM_TIMERINDEX_TIMER_B, &pDeadTimeCfg) != HAL_OK)
  {
    Error_Handler();
  }
  pOutputCfg.Polarity = HRTIM_OUTPUTPOLARITY_HIGH;
  pOutputCfg.SetSource = HRTIM_OUTPUTSET_TIMPER;
  pOutputCfg.ResetSource = HRTIM_OUTPUTSET_EEV_4|HRTIM_OUTPUTRESET_TIMCMP2;
  pOutputCfg.IdleMode = HRTIM_OUTPUTIDLEMODE_NONE;
  pOutputCfg.IdleLevel = HRTIM_OUTPUTIDLELEVEL_INACTIVE;
  pOutputCfg.FaultLevel = HRTIM_OUTPUTFAULTLEVEL_NONE;
  pOutputCfg.ChopperModeEnable = HRTIM_OUTPUTCHOPPERMODE_DISABLED;
  pOutputCfg.BurstModeEntryDelayed = HRTIM_OUTPUTBURSTMODEENTRY_REGULAR;
  if (HAL_HRTIM_WaveformOutputConfig(&hhrtim1, HRTIM_TIMERINDEX_TIMER_A, HRTIM_OUTPUT_TA1, &pOutputCfg) != HAL_OK)
  {
    Error_Handler();
  }
  pOutputCfg.SetSource = HRTIM_OUTPUTSET_EEV_4|HRTIM_OUTPUTSET_TIMCMP2;
  pOutputCfg.ResetSource = HRTIM_OUTPUTRESET_TIMPER;
  if (HAL_HRTIM_WaveformOutputConfig(&hhrtim1, HRTIM_TIMERINDEX_TIMER_B, HRTIM_OUTPUT_TB1, &pOutputCfg) != HAL_OK)
  {
    Error_Handler();
  }
  pOutputCfg.SetSource = HRTIM_OUTPUTSET_NONE;
  pOutputCfg.ResetSource = HRTIM_OUTPUTRESET_NONE;
  if (HAL_HRTIM_WaveformOutputConfig(&hhrtim1, HRTIM_TIMERINDEX_TIMER_A, HRTIM_OUTPUT_TA2, &pOutputCfg) != HAL_OK)
  {
    Error_Handler();
  }
  if (HAL_HRTIM_WaveformOutputConfig(&hhrtim1, HRTIM_TIMERINDEX_TIMER_B, HRTIM_OUTPUT_TB2, &pOutputCfg) != HAL_OK)
  {
    Error_Handler();
  }
  if (HAL_HRTIM_TimeBaseConfig(&hhrtim1, HRTIM_TIMERINDEX_TIMER_B, &pTimeBaseCfg) != HAL_OK)
  {
    Error_Handler();
  }
  if (HAL_HRTIM_WaveformTimerControl(&hhrtim1, HRTIM_TIMERINDEX_TIMER_B, &pTimerCtl) != HAL_OK)
  {
    Error_Handler();
  }
  if (HAL_HRTIM_WaveformCompareConfig(&hhrtim1, HRTIM_TIMERINDEX_TIMER_B, HRTIM_COMPAREUNIT_1, &pCompareCfg) != HAL_OK)
  {
    Error_Handler();
  }

  if (HAL_HRTIM_WaveformCompareConfig(&hhrtim1, HRTIM_TIMERINDEX_TIMER_B, HRTIM_COMPAREUNIT_2, &pCompareCfg) != HAL_OK)
  {
    Error_Handler();
  }
  HAL_HRTIM_MspPostInit(&hhrtim1);

}

static void MX_I2C1_Init(void)
{

  hi2c1.Instance = I2C1;
  hi2c1.Init.Timing = 0x40B285C2;
  hi2c1.Init.OwnAddress1 = 0;
  hi2c1.Init.AddressingMode = I2C_ADDRESSINGMODE_7BIT;
  hi2c1.Init.DualAddressMode = I2C_DUALADDRESS_DISABLE;
  hi2c1.Init.OwnAddress2 = 0;
  hi2c1.Init.OwnAddress2Masks = I2C_OA2_NOMASK;
  hi2c1.Init.GeneralCallMode = I2C_GENERALCALL_DISABLE;
  hi2c1.Init.NoStretchMode = I2C_NOSTRETCH_DISABLE;
  if (HAL_I2C_Init(&hi2c1) != HAL_OK)
  {
    Error_Handler();
  }

  /** Configure Analogue filter
  */
  if (HAL_I2CEx_ConfigAnalogFilter(&hi2c1, I2C_ANALOGFILTER_ENABLE) != HAL_OK)
  {
    Error_Handler();
  }

  /** Configure Digital filter
  */
  if (HAL_I2CEx_ConfigDigitalFilter(&hi2c1, 0) != HAL_OK)
  {
    Error_Handler();
  }

}

static void MX_LPUART1_UART_Init(void)
{

  hlpuart1.Instance = LPUART1;
  hlpuart1.Init.BaudRate = 921600;
  hlpuart1.Init.WordLength = UART_WORDLENGTH_7B;
  hlpuart1.Init.StopBits = UART_STOPBITS_1;
  hlpuart1.Init.Parity = UART_PARITY_NONE;
  hlpuart1.Init.Mode = UART_MODE_TX_RX;
  hlpuart1.Init.HwFlowCtl = UART_HWCONTROL_NONE;
  hlpuart1.Init.OneBitSampling = UART_ONE_BIT_SAMPLE_DISABLE;
  hlpuart1.Init.ClockPrescaler = UART_PRESCALER_DIV1;
  hlpuart1.AdvancedInit.AdvFeatureInit = UART_ADVFEATURE_NO_INIT;
  if (HAL_UART_Init(&hlpuart1) != HAL_OK)
  {
    Error_Handler();
  }
  if (HAL_UARTEx_SetTxFifoThreshold(&hlpuart1, UART_TXFIFO_THRESHOLD_1_8) != HAL_OK)
  {
    Error_Handler();
  }
  if (HAL_UARTEx_SetRxFifoThreshold(&hlpuart1, UART_RXFIFO_THRESHOLD_1_8) != HAL_OK)
  {
    Error_Handler();
  }
  if (HAL_UARTEx_DisableFifoMode(&hlpuart1) != HAL_OK)
  {
    Error_Handler();
  }

}

static void MX_TIM6_Init(void)
{

  TIM_MasterConfigTypeDef sMasterConfig = {0};

  htim6.Instance = TIM6;
  htim6.Init.Prescaler = 0;
  htim6.Init.CounterMode = TIM_COUNTERMODE_UP;
  htim6.Init.Period = 65535;
  htim6.Init.AutoReloadPreload = TIM_AUTORELOAD_PRELOAD_DISABLE;
  if (HAL_TIM_Base_Init(&htim6) != HAL_OK)
  {
    Error_Handler();
  }
  sMasterConfig.MasterOutputTrigger = TIM_TRGO_RESET;
  sMasterConfig.MasterSlaveMode = TIM_MASTERSLAVEMODE_DISABLE;
  if (HAL_TIMEx_MasterConfigSynchronization(&htim6, &sMasterConfig) != HAL_OK)
  {
    Error_Handler();
  }

}

static void MX_TIM7_Init(void)
{

  TIM_MasterConfigTypeDef sMasterConfig = {0};

  htim7.Instance = TIM7;
  htim7.Init.Prescaler = 0;
  htim7.Init.CounterMode = TIM_COUNTERMODE_UP;
  htim7.Init.Period = 65535;
  htim7.Init.AutoReloadPreload = TIM_AUTORELOAD_PRELOAD_DISABLE;
  if (HAL_TIM_Base_Init(&htim7) != HAL_OK)
  {
    Error_Handler();
  }
  sMasterConfig.MasterOutputTrigger = TIM_TRGO_RESET;
  sMasterConfig.MasterSlaveMode = TIM_MASTERSLAVEMODE_DISABLE;
  if (HAL_TIMEx_MasterConfigSynchronization(&htim7, &sMasterConfig) != HAL_OK)
  {
    Error_Handler();
  }

}

static void MX_UCPD1_Init(void)
{

  LL_GPIO_InitTypeDef GPIO_InitStruct = {0};

  /* Peripheral clock enable */
  LL_APB1_GRP2_EnableClock(LL_APB1_GRP2_PERIPH_UCPD1);

  LL_AHB2_GRP1_EnableClock(LL_AHB2_GRP1_PERIPH_GPIOB);
  /**UCPD1 GPIO Configuration
  PB4   ------> UCPD1_CC2
  PB6   ------> UCPD1_CC1
  */
  GPIO_InitStruct.Pin = LL_GPIO_PIN_4;
  GPIO_InitStruct.Mode = LL_GPIO_MODE_ANALOG;
  GPIO_InitStruct.Pull = LL_GPIO_PULL_NO;
  LL_GPIO_Init(GPIOB, &GPIO_InitStruct);

  GPIO_InitStruct.Pin = LL_GPIO_PIN_6;
  GPIO_InitStruct.Mode = LL_GPIO_MODE_ANALOG;
  GPIO_InitStruct.Pull = LL_GPIO_PULL_NO;
  LL_GPIO_Init(GPIOB, &GPIO_InitStruct);

  /* UCPD1 DMA Init */

  /* UCPD1_TX Init */
  LL_DMA_SetPeriphRequest(DMA1, LL_DMA_CHANNEL_2, LL_DMAMUX_REQ_UCPD1_TX);

  LL_DMA_SetDataTransferDirection(DMA1, LL_DMA_CHANNEL_2, LL_DMA_DIRECTION_MEMORY_TO_PERIPH);

  LL_DMA_SetChannelPriorityLevel(DMA1, LL_DMA_CHANNEL_2, LL_DMA_PRIORITY_LOW);

  LL_DMA_SetMode(DMA1, LL_DMA_CHANNEL_2, LL_DMA_MODE_NORMAL);

  LL_DMA_SetPeriphIncMode(DMA1, LL_DMA_CHANNEL_2, LL_DMA_PERIPH_NOINCREMENT);

  LL_DMA_SetMemoryIncMode(DMA1, LL_DMA_CHANNEL_2, LL_DMA_MEMORY_INCREMENT);

  LL_DMA_SetPeriphSize(DMA1, LL_DMA_CHANNEL_2, LL_DMA_PDATAALIGN_BYTE);

  LL_DMA_SetMemorySize(DMA1, LL_DMA_CHANNEL_2, LL_DMA_MDATAALIGN_BYTE);

  /* UCPD1_RX Init */
  LL_DMA_SetPeriphRequest(DMA1, LL_DMA_CHANNEL_4, LL_DMAMUX_REQ_UCPD1_RX);

  LL_DMA_SetDataTransferDirection(DMA1, LL_DMA_CHANNEL_4, LL_DMA_DIRECTION_PERIPH_TO_MEMORY);

  LL_DMA_SetChannelPriorityLevel(DMA1, LL_DMA_CHANNEL_4, LL_DMA_PRIORITY_LOW);

  LL_DMA_SetMode(DMA1, LL_DMA_CHANNEL_4, LL_DMA_MODE_NORMAL);

  LL_DMA_SetPeriphIncMode(DMA1, LL_DMA_CHANNEL_4, LL_DMA_PERIPH_NOINCREMENT);

  LL_DMA_SetMemoryIncMode(DMA1, LL_DMA_CHANNEL_4, LL_DMA_MEMORY_INCREMENT);

  LL_DMA_SetPeriphSize(DMA1, LL_DMA_CHANNEL_4, LL_DMA_PDATAALIGN_BYTE);

  LL_DMA_SetMemorySize(DMA1, LL_DMA_CHANNEL_4, LL_DMA_MDATAALIGN_BYTE);

  /* UCPD1 interrupt Init */
  NVIC_SetPriority(UCPD1_IRQn, NVIC_EncodePriority(NVIC_GetPriorityGrouping(),5, 0));
  NVIC_EnableIRQ(UCPD1_IRQn);

}

static void MX_DMA_Init(void)
{

  /* DMA controller clock enable */
  __HAL_RCC_DMAMUX1_CLK_ENABLE();
  __HAL_RCC_DMA1_CLK_ENABLE();

  /* DMA interrupt init */
  /* DMA1_Channel2_IRQn interrupt configuration */
  NVIC_SetPriority(DMA1_Channel2_IRQn, NVIC_EncodePriority(NVIC_GetPriorityGrouping(),5, 0));
  NVIC_EnableIRQ(DMA1_Channel2_IRQn);
  /* DMA1_Channel3_IRQn interrupt configuration */
  HAL_NVIC_SetPriority(DMA1_Channel3_IRQn, 5, 0);
  HAL_NVIC_EnableIRQ(DMA1_Channel3_IRQn);
  /* DMA1_Channel4_IRQn interrupt configuration */
  NVIC_SetPriority(DMA1_Channel4_IRQn, NVIC_EncodePriority(NVIC_GetPriorityGrouping(),5, 0));
  NVIC_EnableIRQ(DMA1_Channel4_IRQn);
  /* DMA1_Channel5_IRQn interrupt configuration */
  HAL_NVIC_SetPriority(DMA1_Channel5_IRQn, 5, 0);
  HAL_NVIC_EnableIRQ(DMA1_Channel5_IRQn);
  /* DMA1_Channel6_IRQn interrupt configuration */
  HAL_NVIC_SetPriority(DMA1_Channel6_IRQn, 5, 0);
  HAL_NVIC_EnableIRQ(DMA1_Channel6_IRQn);

}

static void MX_GPIO_Init(void)
{
  GPIO_InitTypeDef GPIO_InitStruct = {0};

  /* GPIO Ports Clock Enable */
  __HAL_RCC_GPIOC_CLK_ENABLE();
  __HAL_RCC_GPIOF_CLK_ENABLE();
  __HAL_RCC_GPIOA_CLK_ENABLE();
  __HAL_RCC_GPIOB_CLK_ENABLE();

  /*Configure GPIO pin Output Level */
  HAL_GPIO_WritePin(GPIOC, INPUT_EN_Pin|OUTPUT_EN_Pin|OUTPUT_DIS_Pin, GPIO_PIN_RESET);

  /*Configure GPIO pins : INPUT_EN_Pin OUTPUT_EN_Pin OUTPUT_DIS_Pin */
  GPIO_InitStruct.Pin = INPUT_EN_Pin|OUTPUT_EN_Pin|OUTPUT_DIS_Pin;
  GPIO_InitStruct.Mode = GPIO_MODE_OUTPUT_PP;
  GPIO_InitStruct.Pull = GPIO_NOPULL;
  GPIO_InitStruct.Speed = GPIO_SPEED_FREQ_LOW;
  HAL_GPIO_Init(GPIOC, &GPIO_InitStruct);

}

/* USER CODE BEGIN 4 */

/**
 * @brief  FreeRTOS stack overflow hook (configCHECK_FOR_STACK_OVERFLOW = 2).
 *         Called by the FreeRTOS kernel when a task's stack has been corrupted.
 *         Halts here — inspect xTask / pcTaskName in the debugger.
 */
void vApplicationStackOverflowHook(TaskHandle_t xTask, char *pcTaskName)
{
    (void)xTask;
    (void)pcTaskName;
    __disable_irq();
    for (;;) {}
}

/**
 * @brief  FreeRTOS malloc-failed hook.
 *         Called when pvPortMalloc() returns NULL (heap exhausted).
 *         Halts here — increase configTOTAL_HEAP_SIZE if this fires.
 */
void vApplicationMallocFailedHook(void)
{
    __disable_irq();
    for (;;) {}
}

/* USER CODE END 4 */

/* USER CODE BEGIN Header_StartDefaultTask */
/**
  * @brief  Default task: test regulation without PD negotiation.
  *
  * Sets a fixed 12 V setpoint, starts the regulator, and monitors the
  * debug_log circular buffer which is filled by the PID ISR at 20 kHz.
  *
  * LPUART1 is claimed by the UCPD peripheral and must not be used for
  * serial printing during closed-loop operation.  Instead, use a JTAG/SWD
  * debugger to inspect the "debug_log" global variable in real time:
  *   - STM32CubeIDE: Expressions window → add "debug_log"
  *   - STM32CubeIDE: Memory window → address of debug_log
  *   - Any GDB client: "print debug_log" or "x/NNxw &debug_log"
  * At 20 kHz, 512 samples = 25.6 ms of continuous capture per wrap.
  *
  * @param  argument: Not used
  * @retval None
  */
/* USER CODE END Header_StartDefaultTask */
void StartDefaultTask(void const * argument)
{
  /* USER CODE BEGIN 5 */

  /* Allow peripheral initialisation (regulator_init, PD stack) to settle. */
  osDelay(200);

#if !PD_OWNS_VBUS && !(defined(BATTERY_LOAD) && BATTERY_LOAD)
  /* Set a fixed test voltage and start the regulator without PD negotiation.
   * Never in the battery-load build: only `bu battery` starts it there. */
  regulator_set_target_voltage(DEFAULT_TASK_TEST_VOLTAGE_MV);
  regulator_start();
#endif /* With PD_OWNS_VBUS the regulator output is the Type-C VBUS and only
        * starts when a sink attaches (pd_vbus.c, BSP_USBPD_PWR_VBUSOn). */

  /* Infinite loop: service debugger commands (regulator_debug mailbox,
   * used by tools/bringup to clear faults / stop).  The debug buffer is
   * filled at 20 kHz by the TIM7 PID ISR. */
  for(;;)
  {
    osDelay(10);
    regulator_debug_poll();
#if PD_OWNS_VBUS
    pd_vbus_poll();
#endif
  }
  /* USER CODE END 5 */
}

void HAL_TIM_PeriodElapsedCallback(TIM_HandleTypeDef *htim)
{
  if (htim->Instance == TIM2)
  {
    HAL_IncTick();
  }
  /* USER CODE BEGIN Callback 1 */
  if (htim->Instance == TIM2)
  {
    /* USB-PD policy-engine and protocol-layer timers, 1 ms.  ST's stack only
     * counts them down here; FreeRTOS owns SysTick and there is no tick hook,
     * so without this call no PE timer ever expired (2026-10-06 bench: one
     * Source_Capabilities burst and no resends, and after Accept no PS_RDY:
     * the PE waited forever for tSrcTransition).                           */
#if !(defined(BATTERY_LOAD) && BATTERY_LOAD)   /* no USB-PD stack */
    USBPD_DPM_TimerCounter();
#endif
  }
  /* USER CODE END Callback 1 */
}

void Error_Handler(void)
{
  __disable_irq();
  while (1)
  {
  }
}
